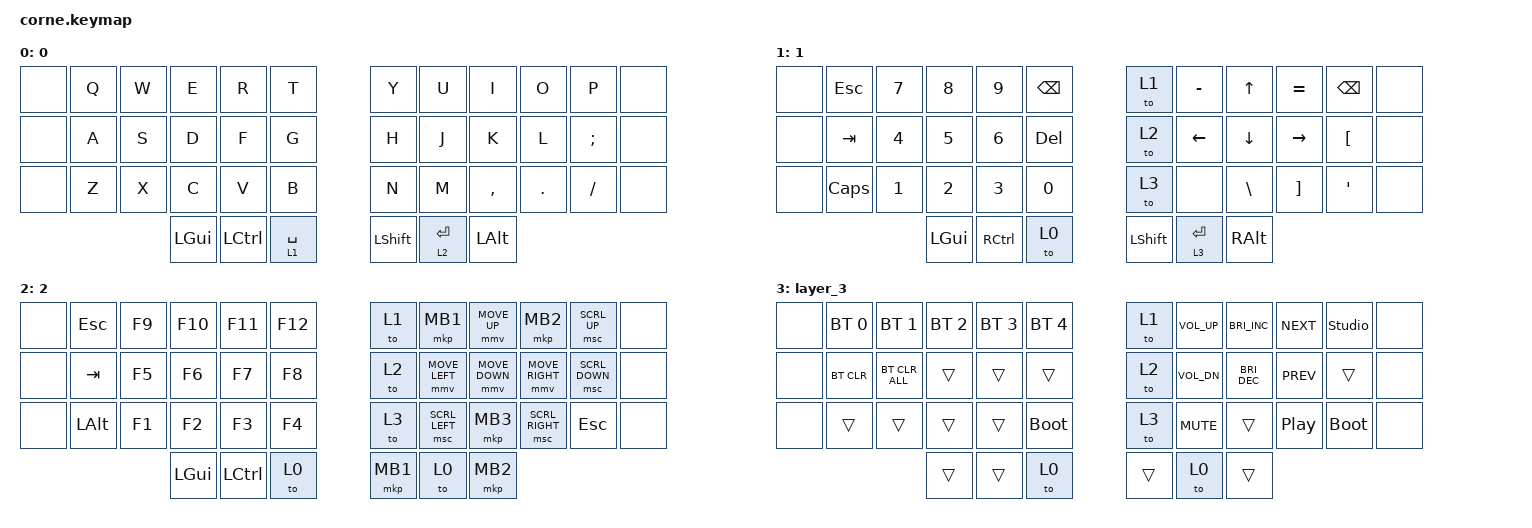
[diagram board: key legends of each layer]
/*
 * Copyright (c) 2020 The ZMK Contributors
 *
 * SPDX-License-Identifier: MIT
 */

#define ZMK_POINTING_DEFAULT_MOVE_VAL 1200  // 600
#define ZMK_POINTING_DEFAULT_SCRL_VAL 25   // 10

#include <behaviors.dtsi>
#include <dt-bindings/zmk/bt.h>
#include <dt-bindings/zmk/keys.h>
#include <dt-bindings/zmk/pointing.h>

/ {
    keymap {
        compatible = "zmk,keymap";

        default_layer {
            display-name = "0";

            // -----------------------------------------------------------------------------------------
            // |  TAB |  Q  |  W  |  E  |  R  |  T  |   |  Y  |  U   |  I  |  O  |  P  | BSPC |
            // | CTRL |  A  |  S  |  D  |  F  |  G  |   |  H  |  J   |  K  |  L  |  ;  |  '   |
            // | SHFT |  Z  |  X  |  C  |  V  |  B  |   |  N  |  M   |  ,  |  .  |  /  | ESC  |
            //                    | GUI | LWR | SPC |   | ENT | RSE  | ALT |

            bindings = <
&none  &kp Q  &kp W  &kp E     &kp R      &kp T          &kp Y           &kp U        &kp I         &kp O    &kp P     &none
&none  &kp A  &kp S  &kp D     &kp F      &kp G          &kp H           &kp J        &kp K         &kp L    &kp SEMI  &none
&none  &kp Z  &kp X  &kp C     &kp V      &kp B          &kp N           &kp M        &kp COMMA     &kp DOT  &kp FSLH  &none
                     &kp LGUI  &kp LCTRL  &lt 1 SPACE    &kp LEFT_SHIFT  &lt 2 ENTER  &kp LEFT_ALT
            >;
        };

        lower_layer {
            display-name = "1";

            // -----------------------------------------------------------------------------------------
            // |  TAB |  1  |  2  |  3  |  4  |  5  |   |  6  |  7  |  8  |  9  |  0  | BSPC |
            // | BTCLR| BT1 | BT2 | BT3 | BT4 | BT5 |   | LFT | DWN |  UP | RGT |     |      |
            // | SHFT |     |     |     |     |     |   |     |     |     |     |     |      |
            //                    | GUI |     | SPC |   | ENT |     | ALT |

            bindings = <
&none  &kp ESCAPE  &kp N7        &kp N8        &kp N9        &kp BACKSPACE    &to 1           &kp MINUS    &kp UP    &kp EQUAL          &kp BACKSPACE     &none
&none  &kp TAB     &kp NUMBER_4  &kp N5        &kp NUMBER_6  &kp DELETE       &to 2           &kp LEFT     &kp DOWN  &kp RIGHT          &kp LEFT_BRACKET  &none
&none  &kp CLCK    &kp NUMBER_1  &kp NUMBER_2  &kp NUMBER_3  &kp N0           &to 3           &none        &kp BSLH  &kp RIGHT_BRACKET  &kp APOS          &none
                                 &kp LGUI      &kp RCTRL     &to 0            &kp LEFT_SHIFT  &lt 3 ENTER  &kp RALT
            >;
        };

        raise_layer {
            display-name = "2";

            // -----------------------------------------------------------------------------------------
            // |  TAB |  !  |  @  |  #  |  $  |  %  |   |  ^  |  &  |  *  |  (  |  )  | BSPC |
            // | CTRL |     |     |     |     |     |   |  -  |  =  |  [  |  ]  |  \  |  `   |
            // | SHFT |     |     |     |     |     |   |  _  |  +  |  {  |  }  | "|" |  ~   |
            //                    | GUI |     | SPC |   | ENT |     | ALT |

            bindings = <
&none  &kp ESCAPE    &kp F9  &kp F10   &kp F11    &kp F12    &to 1     &mkp MB1        &mmv MOVE_UP    &mkp MB2         &msc SCRL_UP    &none
&none  &kp TAB       &kp F5  &kp F6    &kp F7     &kp F8     &to 2     &mmv MOVE_LEFT  &mmv MOVE_DOWN  &mmv MOVE_RIGHT  &msc SCRL_DOWN  &none
&none  &kp LEFT_ALT  &kp F1  &kp F2    &kp F3     &kp F4     &to 3     &msc SCRL_LEFT  &mkp MB3        &msc SCRL_RIGHT  &kp ESCAPE      &none
                             &kp LGUI  &kp LCTRL  &to 0      &mkp MB1  &to 0           &mkp MB2
            >;
        };

        layer_3 {
            bindings = <
&none  &bt BT_SEL 0  &bt BT_SEL 1    &bt BT_SEL 2  &bt BT_SEL 3  &bt BT_SEL 4    &to 1   &kp C_VOL_UP  &kp C_BRI_INC  &kp C_NEXT        &studio_unlock  &none
&none  &bt BT_CLR    &bt BT_CLR_ALL  &trans        &trans        &trans          &to 2   &kp C_VOL_DN  &kp C_BRI_DEC  &kp C_PREV        &trans          &none
&none  &trans        &trans          &trans        &trans        &bootloader     &to 3   &kp C_MUTE    &trans         &kp C_PLAY_PAUSE  &bootloader     &none
                                     &trans        &trans        &to 0           &trans  &to 0         &trans
            >;
        };
    };
};
